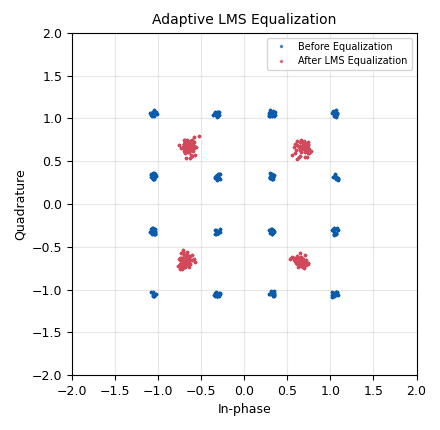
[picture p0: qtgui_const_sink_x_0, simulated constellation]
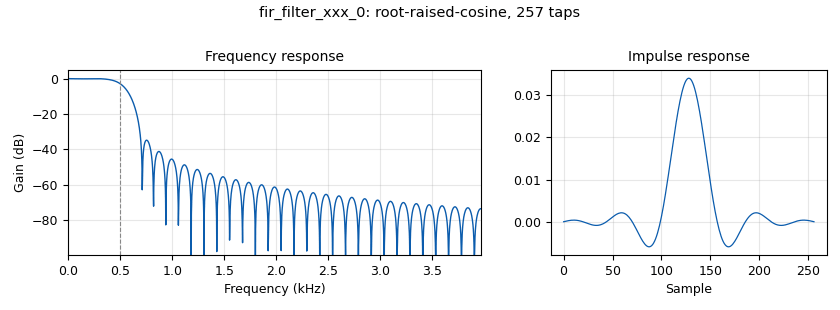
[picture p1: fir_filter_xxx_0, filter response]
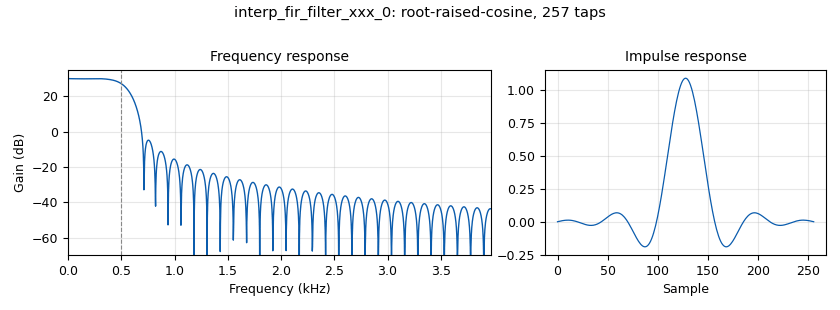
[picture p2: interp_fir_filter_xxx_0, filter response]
options:
  parameters:
    author: Dhrubjun
    generate_options: qt_gui
    id: exp3
    output_language: python
    title: Adaptive LMS Equalization
  states: {}

blocks:
- name: a
  id: variable
  parameters:
    value: '0.70710678'
  states: {}
- name: alpha
  id: variable
  parameters:
    value: '0.35'
  states: {}
- name: echo_delay
  id: variable_qtgui_range
  parameters:
    label: Echo Delay (samples)
    start: '0'
    step: '1'
    stop: '32'
    value: '32'
  states: {}
- name: echo_gain
  id: variable_qtgui_range
  parameters:
    label: Echo Gain
    start: '0'
    step: '0.05'
    stop: '1'
    value: '0.5'
  states: {}
- name: frame_symbols
  id: variable
  parameters:
    value: training_symbols + payload_symbols
  states: {}
- name: lms
  id: variable_adaptive_algorithm
  parameters:
    cons: qpsk
    step_size: '0.005'
    type: lms
  states: {}
- name: ntaps
  id: variable
  parameters:
    value: span * sps + 1
  states: {}
- name: payload_indices
  id: variable
  parameters:
    value: list(np.random.default_rng(20).integers(0, 4, 256))
  states: {}
- name: payload_symbols
  id: variable
  parameters:
    value: '[qpsk_points[i] for i in payload_indices]'
  states: {}
- name: qpsk
  id: variable_constellation_rect
  parameters:
    const_points: '[0.707+0.707j, -0.707+0.707j, -0.707-0.707j, 0.707-0.707j]'
    imag_sect: '2'
    real_sect: '2'
    rot_sym: '4'
    sym_map: '[0, 1, 2, 3]'
    w_imag_sect: '1'
    w_real_sect: '1'
  states: {}
- name: qpsk_points
  id: variable
  parameters:
    value: '[a-1j*a, -a+1j*a, -a-1j*a, a+1j*a]'
  states: {}
- name: samp_rate
  id: variable
  parameters:
    value: '32000'
  states: {}
- name: span
  id: variable
  parameters:
    value: '8'
  states: {}
- name: sps
  id: variable
  parameters:
    value: int(samp_rate / symbol_rate)
  states: {}
- name: symbol_rate
  id: variable
  parameters:
    value: '1000'
  states: {}
- name: training_symbols
  id: variable
  parameters:
    value: '[a+1j*a, a-1j*a, -a+1j*a, -a-1j*a, a-1j*a, -a-1j*a, a+1j*a, -a+1j*a]'
  states: {}
- name: blocks_add_xx_0
  id: blocks_add_xx
  parameters:
    type: complex
  states: {}
- name: blocks_delay_0
  id: blocks_delay
  parameters:
    delay: echo_delay
    type: complex
  states: {}
- name: blocks_keep_one_in_n_0
  id: blocks_keep_one_in_n
  parameters:
    n: sps
    type: complex
  states: {}
- name: blocks_multiply_const_vxx_0
  id: blocks_multiply_const_vxx
  parameters:
    const: echo_gain
    type: complex
  states: {}
- name: blocks_throttle2_0
  id: blocks_throttle2
  parameters:
    samples_per_second: samp_rate
    type: complex
  states: {}
- name: blocks_vector_source_x_0
  id: blocks_vector_source_x
  parameters:
    repeat: 'True'
    type: complex
    vector: frame_symbols
  states: {}
- name: digital_corr_est_cc_0
  id: digital_corr_est_cc
  parameters:
    mark_delay: '1'
    sps: '1'
    symbols: training_symbols
    threshold: '0.5'
    threshold_method: digital.THRESHOLD_ABSOLUTE
  states: {}
- name: digital_linear_equalizer_0
  id: digital_linear_equalizer
  parameters:
    alg: lms
    num_taps: '5'
    sps: '1'
    training_sequence: training_symbols
  states: {}
- name: fir_filter_xxx_0
  id: fir_filter_xxx
  parameters:
    decim: '1'
    taps: firdes.root_raised_cosine(1, samp_rate, symbol_rate, alpha, ntaps)
    type: ccf
  states: {}
- name: import_0
  id: import
  parameters:
    imports: import numpy as np
  states: {}
- name: interp_fir_filter_xxx_0
  id: interp_fir_filter_xxx
  parameters:
    interp: sps
    taps: firdes.root_raised_cosine(sps, samp_rate, symbol_rate, alpha, ntaps)
    type: ccf
  states: {}
- name: qtgui_const_sink_x_0
  id: qtgui_const_sink_x
  parameters:
    grid: 'True'
    label1: Before Equalization
    label2: After LMS Equalization
    name: Adaptive LMS Equalization
    nconnections: '2'
    size: '1024'
    type: complex
  states: {}

connections:
- [blocks_add_xx_0, '0', fir_filter_xxx_0, '0']
- [blocks_delay_0, '0', blocks_multiply_const_vxx_0, '0']
- [blocks_keep_one_in_n_0, '0', digital_corr_est_cc_0, '0']
- [blocks_keep_one_in_n_0, '0', qtgui_const_sink_x_0, '0']
- [blocks_multiply_const_vxx_0, '0', blocks_add_xx_0, '1']
- [blocks_throttle2_0, '0', blocks_add_xx_0, '0']
- [blocks_throttle2_0, '0', blocks_delay_0, '0']
- [blocks_vector_source_x_0, '0', interp_fir_filter_xxx_0, '0']
- [digital_corr_est_cc_0, '0', digital_linear_equalizer_0, '0']
- [digital_linear_equalizer_0, '0', qtgui_const_sink_x_0, '1']
- [fir_filter_xxx_0, '0', blocks_keep_one_in_n_0, '0']
- [interp_fir_filter_xxx_0, '0', blocks_throttle2_0, '0']

metadata:
  file_format: 1
  grc_version: 3.10.12.0
